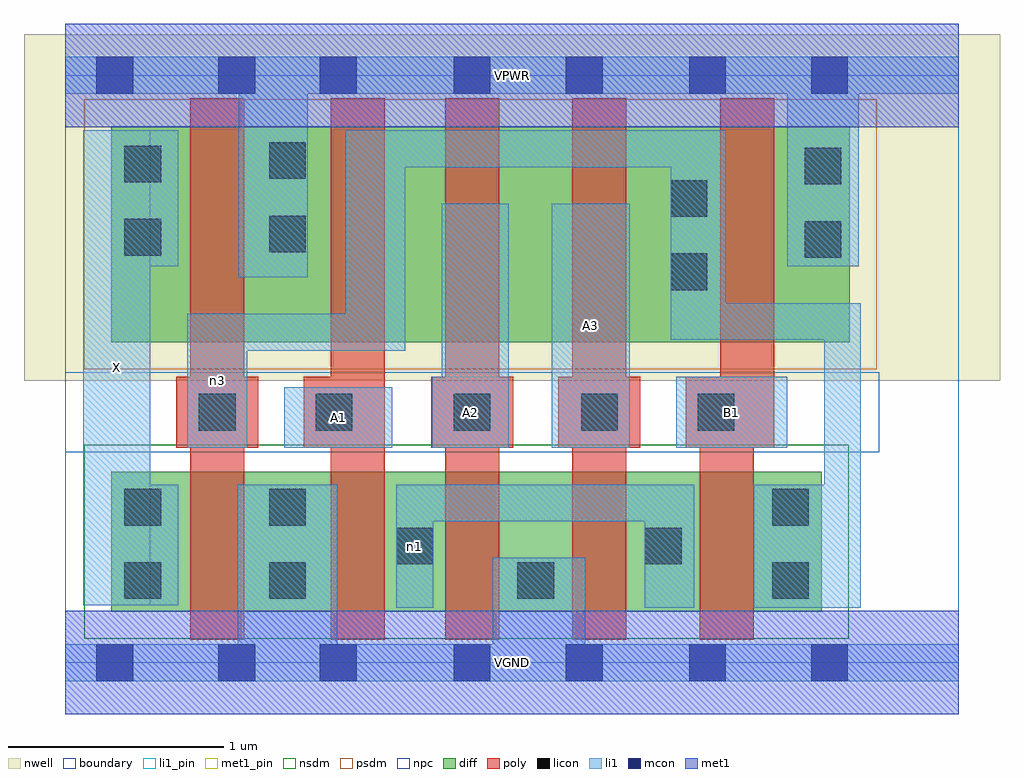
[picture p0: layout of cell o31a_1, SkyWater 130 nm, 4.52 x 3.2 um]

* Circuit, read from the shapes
.subckt o31a_1 A1 A2 A3 B1 VGND VPWR X n1 n3
XM1 VGND n3 X VSUBS sky130_fd_pr__nfet_01v8 w=0.65 l=0.25
XM2 n1 A1 VGND VSUBS sky130_fd_pr__nfet_01v8 w=0.65 l=0.25
XM3 VGND A2 n1 VSUBS sky130_fd_pr__nfet_01v8 w=0.65 l=0.25
XM4 n1 A3 VGND VSUBS sky130_fd_pr__nfet_01v8 w=0.65 l=0.25
XM5 n3 B1 n1 VSUBS sky130_fd_pr__nfet_01v8 w=0.65 l=0.25
XM6 VPWR n3 X n2 sky130_fd_pr__pfet_01v8 w=1 l=0.25
XM7 n4 A1 VPWR n2 sky130_fd_pr__pfet_01v8 w=1 l=0.25
XM8 n5 A2 n4 n2 sky130_fd_pr__pfet_01v8 w=1 l=0.25
XM9 n3 A3 n5 n2 sky130_fd_pr__pfet_01v8 w=1 l=0.25
XM10 VPWR B1 n3 n2 sky130_fd_pr__pfet_01v8 w=1 l=0.25
.ends

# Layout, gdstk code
import gdstk
lib = gdstk.Library(unit=1e-6, precision=1e-09)
def R(c, l, rs):  # rectangles x0, y0, x1, y1
    for r in rs: c.add(gdstk.rectangle(r[:2], r[2:], *l))
nwell = (64, 20)
diff = (65, 20)
poly = (66, 20)
licon = (66, 44)
li1_pin = (67, 16)
li1 = (67, 20)
mcon = (67, 44)
met1_pin = (68, 16)
met1 = (68, 20)
nsdm = (93, 44)
psdm = (94, 20)
npc = (95, 20)
boundary = (235, 4)

o31a_1 = lib.new_cell('o31a_1')
R(o31a_1, nwell, [(-0.19,1.305,4.33,2.91), (0,1.305,4.14,2.91)])
R(o31a_1, diff, [(0.215,0.235,3.505,0.885), (0.215,1.485,3.635,2.485)])
R(o31a_1, poly, [(0.58,0.105,0.83,2.615), (1.23,0.105,1.48,2.615), (1.76,0.105,2.01,2.615), (2.35,0.105,2.6,2.615), (2.94,0.105,3.19,1.325), (0.515,0.995,0.895,1.325), (1.105,0.995,1.48,1.325), (1.695,0.995,2.075,1.325), (2.285,0.995,2.665,1.325), (2.875,0.995,3.285,1.325), (3.035,0.995,3.285,2.615)])
R(o31a_1, licon, [(0.275,0.295,0.445,0.465), (0.945,0.295,1.115,0.465), (2.095,0.295,2.265,0.465), (3.275,0.295,3.445,0.465), (1.535,0.455,1.705,0.625), (2.685,0.455,2.855,0.625), (0.275,0.635,0.445,0.805), (0.945,0.635,1.115,0.805), (3.275,0.635,3.445,0.805), (0.62,1.075,0.79,1.245), (1.16,1.075,1.33,1.245), (1.8,1.075,1.97,1.245), (2.39,1.075,2.56,1.245), (2.93,1.075,3.1,1.245), (2.805,1.725,2.975,1.895), (3.425,1.875,3.595,2.045), (0.275,1.885,0.445,2.055), (0.945,1.9,1.115,2.07), (2.805,2.065,2.975,2.235), (3.425,2.215,3.595,2.385), (0.275,2.225,0.445,2.395), (0.945,2.24,1.115,2.41)])
R(o31a_1, li1_pin, [(0.085,0.265,0.395,2.465), (1.015,0.995,1.515,1.275), (1.7,0.995,2.055,1.325), (2.255,0.995,2.615,2.125), (2.83,0.995,3.345,1.325)])
R(o31a_1, li1, [(0,-0.085,4.14,0.085), (0.8,-0.085,1.26,0.825), (1.98,-0.085,2.41,0.485), (1.535,0.255,1.705,0.825), (2.685,0.255,2.915,0.825), (3.19,0.255,3.685,0.825), (3.515,0.255,3.685,1.665), (0.085,0.265,0.395,2.465), (0.085,0.265,0.525,0.825), (1.535,0.655,2.915,0.825), (0.565,0.995,0.845,1.615), (1.015,0.995,1.515,1.275), (1.7,0.995,2.055,1.325), (1.745,0.995,2.055,2.125), (2.255,0.995,2.615,2.125), (2.83,0.995,3.345,1.325), (0.565,1.445,1.575,1.615), (1.3,1.445,1.575,2.465), (2.805,1.495,3.06,2.465), (2.805,1.495,3.685,1.665), (0.805,1.785,1.125,2.805), (0.085,1.835,0.525,2.465), (3.345,1.835,3.675,2.805), (1.3,2.295,3.06,2.465), (0,2.635,4.14,2.805)])
R(o31a_1, mcon, [(0.145,-0.085,0.315,0.085), (0.71,-0.085,0.88,0.085), (1.18,-0.085,1.35,0.085), (1.8,-0.085,1.97,0.085), (2.32,-0.085,2.49,0.085), (2.89,-0.085,3.06,0.085), (3.455,-0.085,3.625,0.085), (0.145,2.635,0.315,2.805), (0.71,2.635,0.88,2.805), (1.18,2.635,1.35,2.805), (1.8,2.635,1.97,2.805), (2.32,2.635,2.49,2.805), (2.89,2.635,3.06,2.805), (3.455,2.635,3.625,2.805)])
R(o31a_1, met1_pin, [(0,-0.24,4.14,0.24), (0,2.48,4.14,2.96)])
R(o31a_1, met1, [(0,-0.24,4.14,0.24), (0,2.48,4.14,2.96)])
R(o31a_1, nsdm, [(0.09,0.11,3.63,1.01)])
R(o31a_1, psdm, [(0.09,1.36,3.76,2.61)])
R(o31a_1, npc, [(0,0.975,3.77,1.345)])
R(o31a_1, boundary, [(0,0,4.14,2.72)])
o31a_1.add(gdstk.Label('A1', (1.265,1.135), layer=67, texttype=5))
o31a_1.add(gdstk.Label('A2', (1.877,1.16), layer=67, texttype=5))
o31a_1.add(gdstk.Label('A3', (2.435,1.56), layer=67, texttype=5))
o31a_1.add(gdstk.Label('B1', (3.087,1.16), layer=67, texttype=5))
o31a_1.add(gdstk.Label('X', (0.24,1.365), layer=67, texttype=5))
o31a_1.add(gdstk.Label('n1', (1.62,0.54), layer=67, texttype=5))
o31a_1.add(gdstk.Label('n3', (0.705,1.305), layer=67, texttype=5))
o31a_1.add(gdstk.Label('VPWR', (2.07,2.72), layer=68, texttype=5))
o31a_1.add(gdstk.Label('VGND', (2.07,0), layer=68, texttype=5))
o31a_1.add(gdstk.Label('A1', (1.265,1.135), layer=67, texttype=16))
o31a_1.add(gdstk.Label('A2', (1.877,1.16), layer=67, texttype=16))
o31a_1.add(gdstk.Label('A3', (2.435,1.56), layer=67, texttype=16))
o31a_1.add(gdstk.Label('B1', (3.087,1.16), layer=67, texttype=16))
o31a_1.add(gdstk.Label('X', (0.24,1.365), layer=67, texttype=16))
o31a_1.add(gdstk.Label('VPWR', (2.07,2.72), layer=68, texttype=16))
o31a_1.add(gdstk.Label('VGND', (2.07,0), layer=68, texttype=16))

lib.write_gds('o31a_1.gds')
